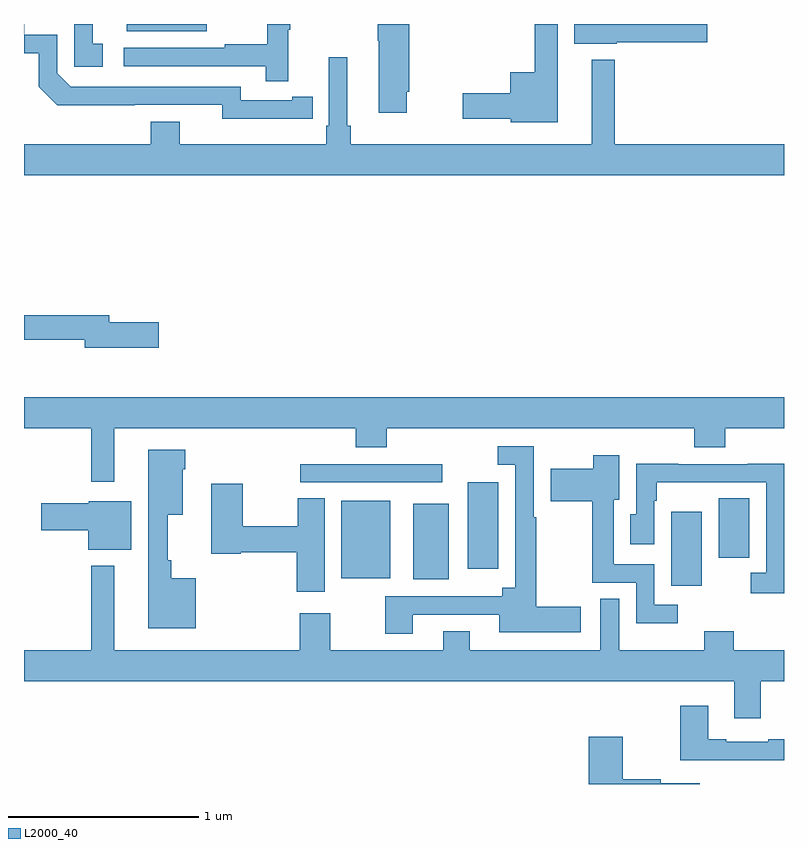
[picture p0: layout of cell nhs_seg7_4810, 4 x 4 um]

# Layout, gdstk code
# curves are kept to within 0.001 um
import gdstk
lib = gdstk.Library(unit=1e-6, precision=1e-09)
def R(c, l, rs):  # rectangles x0, y0, x1, y1
    for r in rs: c.add(gdstk.rectangle(r[:2], r[2:], *l))
def P(c, l, *ps):  # polygons
    for p in ps: c.add(gdstk.Polygon(p, *l))
L2000_40 = (2000, 40)

nhs_seg7_4810 = lib.new_cell('nhs_seg7_4810')
R(nhs_seg7_4810, L2000_40, [(414.407,1077.044,414.568,1077.433), (413.048,1077.077,413.236,1077.475), (412.67,1077.083,412.927,1077.49), (413.336,1077.132,413.497,1077.589), (414.656,1077.192,414.817,1077.503), (412.455,1077.588,413.2,1077.684), (411.542,1079.963,411.961,1080)])
P(nhs_seg7_4810, L2000_40, [(412.412,1079.502),(412.52,1079.502),(412.52,1079.618),(412.412,1079.618),(412.412,1079.598),(412.14,1079.598),(412.14,1079.67),(411.246,1079.67),(411.174,1079.742),(411.174,1079.943),(411.001,1079.943),(411,1080),(411,1079.847),(411.078,1079.847),(411.078,1079.67),(411.176,1079.573),(412.044,1079.574),(412.044,1079.501)],
  [(411.415,1079.895),(411.362,1079.895),(411.362,1080),(411.264,1080),(411.264,1079.775),(411.415,1079.775)],
  [(412.391,1079.971),(412.402,1079.971),(412.402,1080),(412.281,1080),(412.281,1079.894),(412.057,1079.894),(412.057,1079.874),(411.525,1079.874),(411.525,1079.778),(412.273,1079.778),(412.273,1079.7),(412.391,1079.7)],
  [(413.014,1079.644),(413.027,1079.644),(413.027,1080),(412.861,1080),(412.861,1079.911),(412.868,1079.911),(412.868,1079.532),(413.014,1079.532)],
  [(413.809,1080),(413.688,1080),(413.688,1079.746),(413.558,1079.746),(413.558,1079.636),(413.31,1079.636),(413.31,1079.501),(413.562,1079.501),(413.562,1079.483),(413.809,1079.483)],
  [(414.12,1079.903),(414.595,1079.903),(414.595,1080),(413.897,1080),(413.897,1079.897),(414.12,1079.897)],
  [(415,1079.368),(414.109,1079.368),(414.109,1079.812),(413.987,1079.812),(413.987,1079.368),(412.721,1079.368),(412.721,1079.464),(412.702,1079.464),(412.702,1079.824),(412.605,1079.824),(412.605,1079.464),(412.592,1079.464),(412.592,1079.368),(411.82,1079.368),(411.82,1079.485),(411.668,1079.485),(411.668,1079.368),(411,1079.368),(411,1079.204),(415,1079.204)],
  [(411.709,1078.43),(411.448,1078.43),(411.448,1078.466),(411,1078.466),(411,1078.338),(411.32,1078.338),(411.32,1078.295),(411.709,1078.295)],
  [(411.475,1077.872),(412.745,1077.872),(412.745,1077.773),(412.91,1077.773),(412.91,1077.872),(414.527,1077.872),(414.527,1077.773),(414.692,1077.773),(414.692,1077.872),(415,1077.872),(415,1078.036),(411,1078.036),(411,1077.872),(411.354,1077.872),(411.354,1077.591),(411.475,1077.591)],
  [(413.047,1076.892),(413.501,1076.892),(413.501,1076.798),(413.929,1076.798),(413.929,1076.933),(413.695,1076.933),(413.695,1077.404),(413.682,1077.404),(413.682,1077.777),(413.493,1077.777),(413.493,1077.681),(413.586,1077.681),(413.586,1077.034),(413.516,1077.034),(413.516,1076.988),(412.9,1076.988),(412.9,1076.79),(413.047,1076.79)],
  [(411.904,1077.082),(411.775,1077.082),(411.775,1077.178),(411.757,1077.178),(411.757,1077.416),(411.835,1077.416),(411.835,1077.656),(411.848,1077.656),(411.848,1077.76),(411.653,1077.76),(411.653,1076.819),(411.904,1076.819)],
  [(414.442,1076.943),(414.318,1076.943),(414.318,1077.156),(414.103,1077.156),(414.103,1077.497),(414.133,1077.497),(414.133,1077.73),(413.995,1077.73),(413.995,1077.658),(413.772,1077.658),(413.772,1077.488),(413.992,1077.488),(413.992,1077.06),(414.222,1077.06),(414.222,1076.846),(414.442,1076.846)],
  [(415,1077.686),(414.809,1077.686),(414.809,1077.684),(414.443,1077.684),(414.443,1077.686),(414.222,1077.686),(414.222,1077.42),(414.191,1077.42),(414.191,1077.261),(414.318,1077.261),(414.318,1077.491),(414.331,1077.491),(414.331,1077.587),(414.56,1077.587),(414.56,1077.588),(414.906,1077.588),(414.906,1077.111),(414.825,1077.111),(414.825,1077.003),(415,1077.003)],
  [(412.582,1077.503),(412.441,1077.503),(412.441,1077.356),(412.152,1077.356),(412.152,1077.58),(411.986,1077.58),(411.986,1077.212),(412.14,1077.212),(412.14,1077.22),(412.436,1077.22),(412.436,1077.012),(412.582,1077.012)],
  [(411.565,1077.487),(411.342,1077.487),(411.342,1077.477),(411.09,1077.477),(411.09,1077.335),(411.338,1077.335),(411.338,1077.233),(411.565,1077.233)],
  [(414.877,1076.54),(415,1076.54),(415,1076.704),(414.735,1076.704),(414.735,1076.803),(414.58,1076.803),(414.58,1076.704),(414.133,1076.704),(414.133,1076.975),(414.032,1076.975),(414.032,1076.704),(413.347,1076.704),(413.347,1076.803),(413.207,1076.803),(413.207,1076.704),(412.611,1076.704),(412.611,1076.899),(412.451,1076.899),(412.451,1076.704),(411.475,1076.704),(411.475,1077.148),(411.354,1077.148),(411.354,1076.704),(411,1076.704),(411,1076.54),(414.737,1076.54),(414.737,1076.346),(414.877,1076.346)],
  [(415,1076.236),(414.917,1076.236),(414.917,1076.223),(414.697,1076.223),(414.697,1076.236),(414.601,1076.236),(414.601,1076.413),(414.454,1076.413),(414.454,1076.126),(415,1076.126)],
  [(414.556,1076.004),(414.35,1076.004),(414.35,1076.024),(414.15,1076.024),(414.15,1076.248),(413.972,1076.248),(413.972,1076),(414.556,1076)])

lib.write_gds('nhs_seg7_4810.gds')
